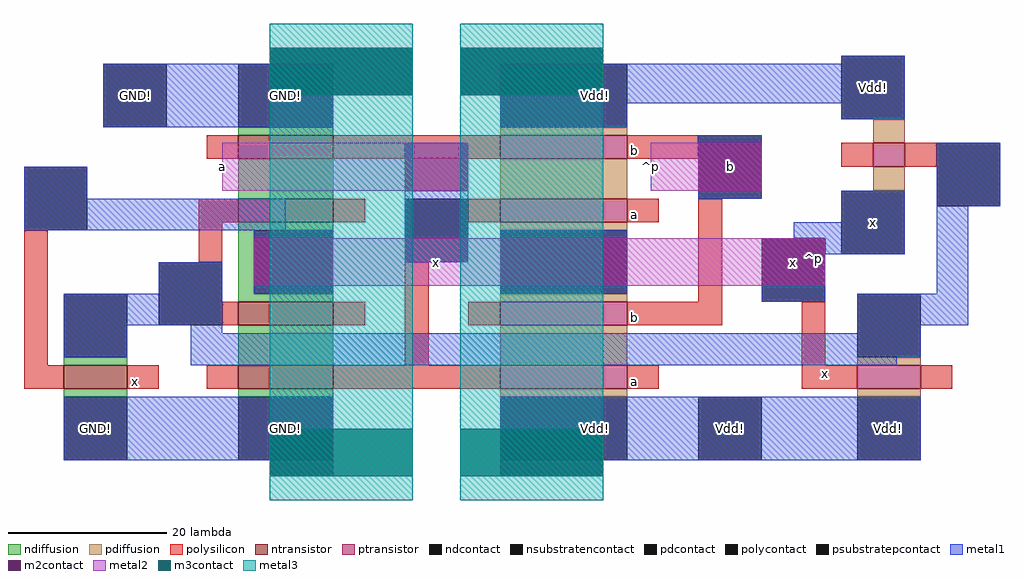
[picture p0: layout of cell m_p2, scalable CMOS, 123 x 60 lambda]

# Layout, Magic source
magic
tech scmos
<< ndiffusion >>
rect -25 22 -13 23
rect -25 14 -13 19
rect -25 10 -13 11
rect -25 2 -23 10
rect -25 1 -13 2
rect -47 -7 -39 -6
rect -25 -7 -13 -2
rect -47 -11 -39 -10
rect -25 -11 -13 -10
<< pdiffusion >>
rect 8 22 24 23
rect 8 14 24 19
rect 55 21 59 24
rect 55 15 59 18
rect 8 10 24 11
rect 8 1 24 2
rect 8 -7 24 -2
rect 53 -7 61 -6
rect 8 -11 24 -10
rect 53 -11 61 -10
<< ntransistor >>
rect -25 19 -13 22
rect -25 11 -13 14
rect -25 -2 -13 1
rect -47 -10 -39 -7
rect -25 -10 -13 -7
<< ptransistor >>
rect 8 19 24 22
rect 55 18 59 21
rect 8 11 24 14
rect 8 -2 24 1
rect 8 -10 24 -7
rect 53 -10 61 -7
<< polysilicon >>
rect -29 19 -25 22
rect -13 19 8 22
rect 24 19 33 22
rect 51 18 55 21
rect 59 18 63 21
rect -30 11 -25 14
rect -13 11 -9 14
rect -52 -7 -49 10
rect -30 6 -27 11
rect 4 11 8 14
rect 24 11 28 14
rect -27 -2 -25 1
rect -13 -2 -9 1
rect -4 -7 -1 6
rect 33 1 36 14
rect 4 -2 8 1
rect 24 -2 36 1
rect 46 -7 49 1
rect -52 -10 -47 -7
rect -39 -10 -35 -7
rect -29 -10 -25 -7
rect -13 -10 8 -7
rect 24 -10 28 -7
rect 46 -10 53 -7
rect 61 -10 65 -7
<< ndcontact >>
rect -25 23 -13 31
rect -47 -6 -39 2
rect -23 2 -13 10
rect -47 -19 -39 -11
rect -25 -19 -13 -11
<< pdcontact >>
rect 8 23 24 31
rect 51 24 59 32
rect 8 2 24 10
rect 51 7 59 15
rect 53 -6 61 2
rect 8 -19 24 -11
rect 53 -19 61 -11
<< psubstratepcontact >>
rect -42 23 -34 31
<< nsubstratencontact >>
rect 33 -19 41 -11
<< polycontact >>
rect -52 10 -44 18
rect 33 14 41 22
rect -35 -2 -27 6
rect -4 6 4 14
rect 41 1 49 9
rect 63 13 71 21
<< metal1 >>
rect -42 27 -21 31
rect 51 31 59 32
rect 21 27 59 31
rect -42 23 -13 27
rect 8 26 59 27
rect 8 23 24 26
rect 51 24 59 26
rect 33 21 41 22
rect -52 14 -44 18
rect -52 10 -19 14
rect -23 9 -13 10
rect -35 2 -27 6
rect -4 6 4 15
rect 33 14 41 15
rect 51 11 59 15
rect 8 9 24 10
rect 45 9 59 11
rect -23 2 -13 3
rect 8 2 24 3
rect 49 7 59 9
rect 63 13 71 21
rect -47 -2 -27 2
rect 41 1 49 3
rect 63 2 67 13
rect -47 -6 -39 -2
rect -31 -3 -27 -2
rect 53 -2 67 2
rect 53 -3 61 -2
rect -31 -6 61 -3
rect -31 -7 58 -6
rect -47 -15 -13 -11
rect -47 -19 -21 -15
rect 8 -15 61 -11
rect 21 -19 61 -15
<< m2contact >>
rect -21 27 -3 33
rect 3 27 21 33
rect -4 15 4 21
rect -23 3 -13 9
rect 33 15 41 21
rect 8 3 24 9
rect 41 3 49 9
rect -21 -21 -13 -15
rect 8 -21 21 -15
<< metal2 >>
rect -27 15 4 21
rect 27 15 41 21
rect -23 3 49 9
<< m3contact >>
rect -21 27 -3 33
rect 3 27 21 33
rect -21 -21 -3 -15
rect 3 -21 21 -15
<< metal3 >>
rect -21 -24 -3 36
rect 3 -24 21 36
<< labels >>
rlabel metal1 -19 -15 -19 -15 1 GND!
rlabel metal1 -19 27 -19 27 5 GND!
rlabel metal1 -43 -15 -43 -15 1 GND!
rlabel polysilicon -38 -9 -38 -9 1 x
rlabel metal1 20 27 20 27 5 Vdd!
rlabel metal1 20 -15 20 -15 1 Vdd!
rlabel polysilicon 25 -9 25 -9 1 a
rlabel polysilicon 25 -1 25 -1 1 b
rlabel polysilicon 25 12 25 12 1 a
rlabel polysilicon 25 20 25 20 1 b
rlabel polysilicon 49 -8 49 -8 5 x
rlabel metal1 55 11 55 11 5 x
rlabel metal1 57 -15 57 -15 5 Vdd!
rlabel metal1 37 -15 37 -15 1 Vdd!
rlabel metal1 -38 27 -38 27 1 GND!
rlabel metal2 0 3 0 9 1 x
rlabel metal2 37 18 37 18 1 b
rlabel metal2 -27 15 -27 21 3 a
rlabel metal1 55 28 55 28 5 Vdd!
rlabel space 23 -20 72 33 3 ^p
rlabel metal2 27 15 27 21 7 ^p
rlabel metal2 45 6 45 6 1 x
<< end >>
